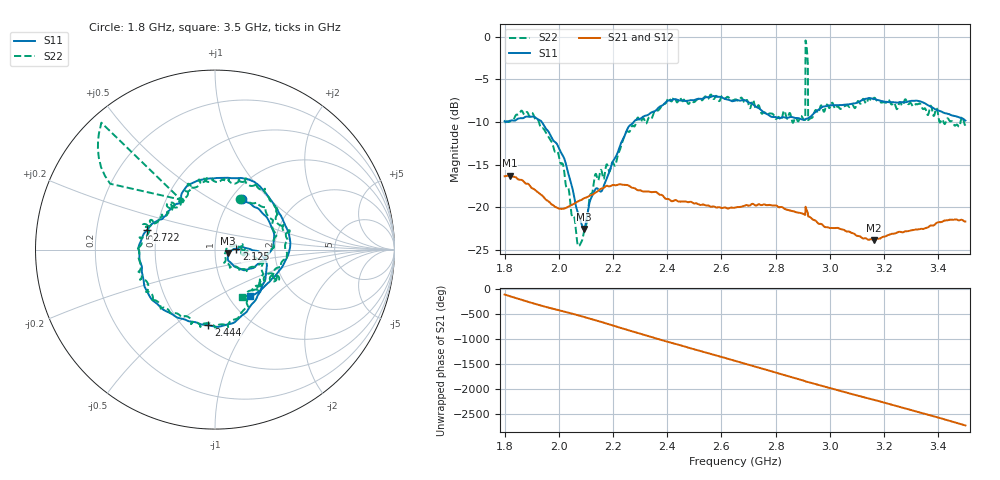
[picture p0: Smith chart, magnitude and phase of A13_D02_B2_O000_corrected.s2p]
! Created with skrf 1.9.0 (http://scikit-rf.org).
# Hz S RI R 50.0
!freq ReS11 ImS11 ReS21 ImS21 ReS12 ImS12 ReS22 ImS22
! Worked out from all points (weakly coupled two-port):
!   1601 points, 1.8 GHz to 3.5 GHz, reference 50 ohm
!   highest |S21| = -16.27 dB at 1.818 GHz (marker M1); lowest = -23.8 dB at 3.163 GHz (marker M2)
!   lowest |S11| = -22.5 dB at 2.092 GHz (marker M3), VSWR 1.16, Z = 57.7 - j2.44 ohm
!   |S11| at or under -10 dB: 1.937 GHz to 2.276 GHz (338.8 MHz wide, 16.1 % of centre)
!   |S22| runs from -24.5 to -0.5 dB; largest |S21 - S12| = 0.0026
!   S11 on the Smith chart (normalised r, x): 1.8 GHz: 1.12, +0.71; 2.125 GHz: 1.27, +0.01; 2.444 GHz: 0.65, -0.67; 2.722 GHz: 0.44, +0.11; 3.5 GHz: 1.26, -0.72
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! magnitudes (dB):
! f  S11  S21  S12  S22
! 1.8 GHz  -9.9  -16.3  -16.3  -10.0
! 1.818 GHz  -9.9  -16.3  -16.3  -10.0
! 1.902 GHz  -9.4  -17.8  -17.7  -8.9
! 1.966 GHz  -11.3  -19.4  -19.5  -12.0
! 2.021 GHz  -14.4  -20.1  -20.1  -16.1
! 2.07 GHz  -20.5  -19.3  -19.3  -24.4
! 2.084 GHz  -21.9  -19.1  -19.1  -24.0
! 2.092 GHz  -22.5  -18.9  -19.0  -23.0
! 2.125 GHz  -18.5  -18.5  -18.5  -18.0
! 2.259 GHz  -10.5  -17.5  -17.5  -11.2
! 2.367 GHz  -8.3  -18.4  -18.3  -8.6
! 2.444 GHz  -7.5  -19.3  -19.3  -7.3
! 2.65 GHz  -7.5  -20.0  -20.0  -7.4
! 2.722 GHz  -8.1  -19.7  -19.6  -8.0
! 2.901 GHz  -9.7  -20.7  -20.7  -9.6
! 2.91 GHz  -9.7  -19.9  -19.9  -0.5
! 2.919 GHz  -9.6  -20.6  -20.6  -3.2
! 2.928 GHz  -9.4  -21.1  -21.2  -9.6
! 2.934 GHz  -9.2  -21.3  -21.3  -9.5
! 3.163 GHz  -7.3  -23.8  -23.8  -7.2
! 3.217 GHz  -7.7  -23.2  -23.2  -7.4
! 3.5 GHz  -9.8  -21.6  -21.6  -10.3
